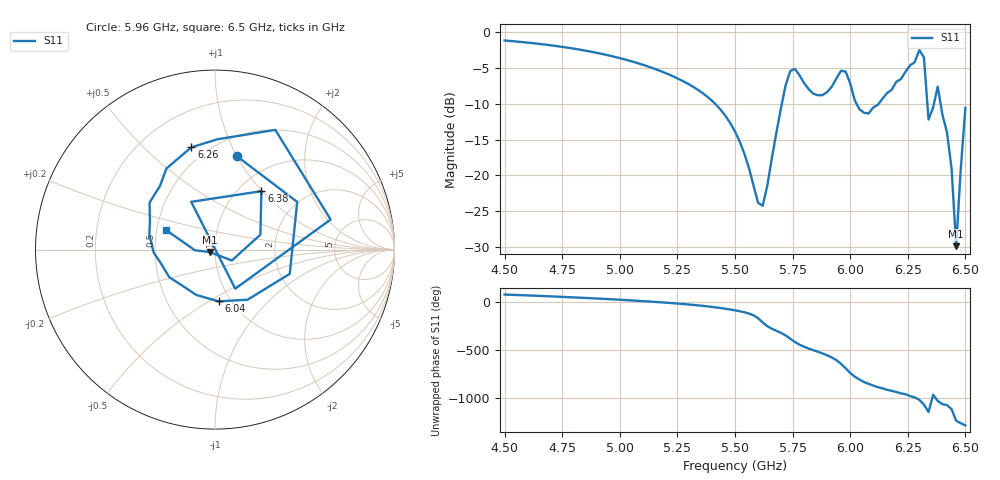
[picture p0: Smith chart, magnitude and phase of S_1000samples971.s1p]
! TOUCHSTONE file generated by CST MICROWAVE STUDIO
! Date and time: Sat Oct 29 23:15:24 2022
! Project name: L.cst
! Parameters = {Di=1.27; Epsilon_r=1.56; InnerDiameter=1.27; Length=2; Lf=10; Lg=60; OuterConductorThickness=0.2921; OuterDiameter=3.6; Wf=3; Wp=41.2; de=1.5; df=6.8; g=0.8; gx=1.40075; gy=2.57411; h=2.34; hf=1.524; px=10.9535; py=14.5308; w=9.7; wx=9.5528; wy=11.9567}
! Header version: 2018
! Port assignment regex: !\s*Touchstone port\s*([0-9]+)\s*=\s*(CST MWS port|CST DS port)\s*([0-9]+|Zmin|Zmax)\s*\(\"(.*)\"\)(\s*mode\s*([0-9]+))?.*
! Touchstone port assignment:
! Touchstone port 1 = CST MWS port 1 ("")
# GHz S DB R 50
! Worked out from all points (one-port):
!   101 points, 4.5 GHz to 6.5 GHz, reference 50 ohm
!   lowest |S11| = -29.8 dB at 6.46 GHz (marker M1), VSWR 1.07, Z = 47.2 - j1.31 ohm
!   |S11| at or under -10 dB: 5.413 GHz to 5.703 GHz (290.2 MHz wide, 5.22 % of centre); 6.027 GHz to 6.124 GHz (96.51 MHz wide, 1.59 % of centre); 6.392 GHz to end of sweep (the widest 3 of 4)
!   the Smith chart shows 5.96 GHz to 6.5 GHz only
!   S11 on the Smith chart (normalised r, x): 5.96 GHz: 0.68, +1.00; 6.04 GHz: 0.88, -0.55; 6.26 GHz: 0.41, +0.71; 6.38 GHz: 1.26, +0.99; 6.5 GHz: 0.56, +0.13
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4.5  -1.20 73.7
4.76  -2.14 48.5
5  -3.65 19.8
5.26  -6.63 -21.4
5.5  -13.88 -89.5
5.62  -24.23 145.0
5.7  -10.53 36.5
5.74  -5.45 -23.4
5.76  -5.15 -57.1
5.8  -7.14 -106.8
5.88  -8.81 -176.4
5.92  -7.64 142.4
5.94  -6.50 114.9
5.96  -5.43 77.1
5.98  -5.52 30.1
6  -7.17 -18.0
6.04  -10.78 -86.0
6.16  -8.52 167.4
6.26  -4.66 103.0
6.3  -2.53 63.3
6.32  -3.54 14.6
6.34  -12.21 -62.6
6.36  -10.54 116.5
6.38  -7.62 51.5
6.4  -11.50 18.2
6.44  -19.02 -32.9
6.46  -29.85 -154.5
6.5  -10.58 158.1
